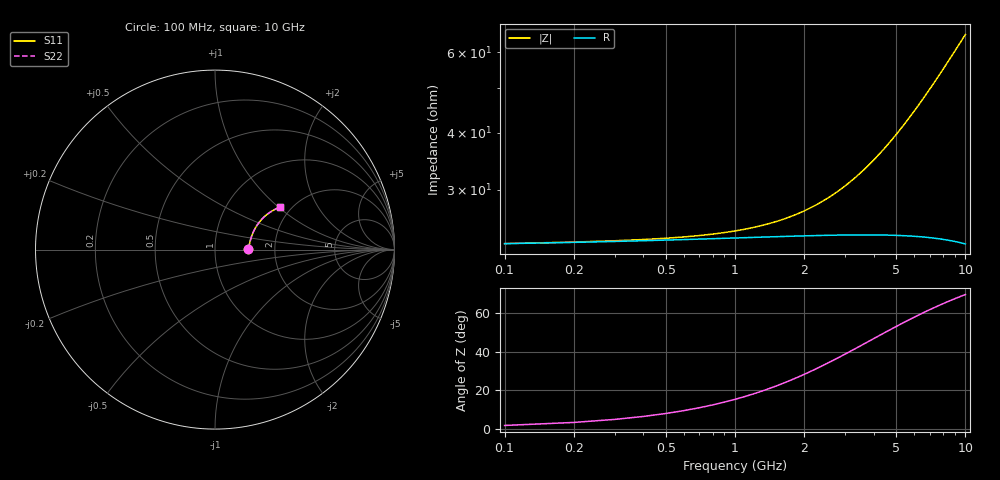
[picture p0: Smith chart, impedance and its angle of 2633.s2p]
# Hz S RI R 50.00
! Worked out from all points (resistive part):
!   100 points, 100 MHz to 10 GHz, reference 50 ohm
!   read as one part in series: R = 22.8 ohm at 100 MHz
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1e8  0.1859 0.00332  0.8141 -0.00507  0.8141 -0.00507  0.1859 0.00332
2e8  0.187 0.00662  0.813 -0.0101  0.813 -0.0101  0.187 0.00662
7e8  0.1905 0.023  0.8094 -0.0352  0.8094 -0.0352  0.1905 0.023
1e9  0.1925 0.0326  0.8073 -0.0501  0.8073 -0.0501  0.1925 0.0326
1.4e9  0.1954 0.0454  0.8042 -0.0699  0.8042 -0.0699  0.1954 0.0454
1.8e9  0.1988 0.058  0.8007 -0.0894  0.8007 -0.0894  0.1988 0.058
2.1e9  0.2016 0.0673  0.7976 -0.104  0.7976 -0.104  0.2016 0.0673
2.5e9  0.2058 0.0795  0.7931 -0.1232  0.7931 -0.1232  0.2058 0.0795
2.9e9  0.2106 0.0915  0.788 -0.1422  0.788 -0.1422  0.2106 0.0915
3.4e9  0.2173 0.106  0.7808 -0.1654  0.7808 -0.1654  0.2173 0.106
4.2e9  0.2296 0.1282  0.7674 -0.2016  0.7674 -0.2016  0.2296 0.1282
4.6e9  0.2364 0.1387  0.76 -0.2192  0.76 -0.2192  0.2364 0.1387
5.1e9  0.2456 0.1513  0.75 -0.2405  0.75 -0.2405  0.2456 0.1513
5.9e9  0.2617 0.17  0.7325 -0.2734  0.7325 -0.2734  0.2617 0.17
6.3e9  0.2702 0.1787  0.7231 -0.2891  0.7231 -0.2891  0.2702 0.1787
6.7e9  0.2791 0.1869  0.7133 -0.3044  0.7133 -0.3044  0.2791 0.1869
7.1e9  0.2883 0.1946  0.7031 -0.3192  0.7031 -0.3192  0.2883 0.1946
7.5e9  0.2978 0.2019  0.6927 -0.3335  0.6927 -0.3335  0.2978 0.2019
7.9e9  0.3075 0.2086  0.6819 -0.3474  0.6819 -0.3474  0.3075 0.2086
8.4e9  0.3199 0.2163  0.6681 -0.364  0.6681 -0.364  0.3199 0.2163
9.2e9  0.3403 0.2269  0.6452 -0.3889  0.6452 -0.3889  0.3403 0.2269
1e10  0.3612 0.2356  0.6217 -0.4119  0.6217 -0.4119  0.3612 0.2356
